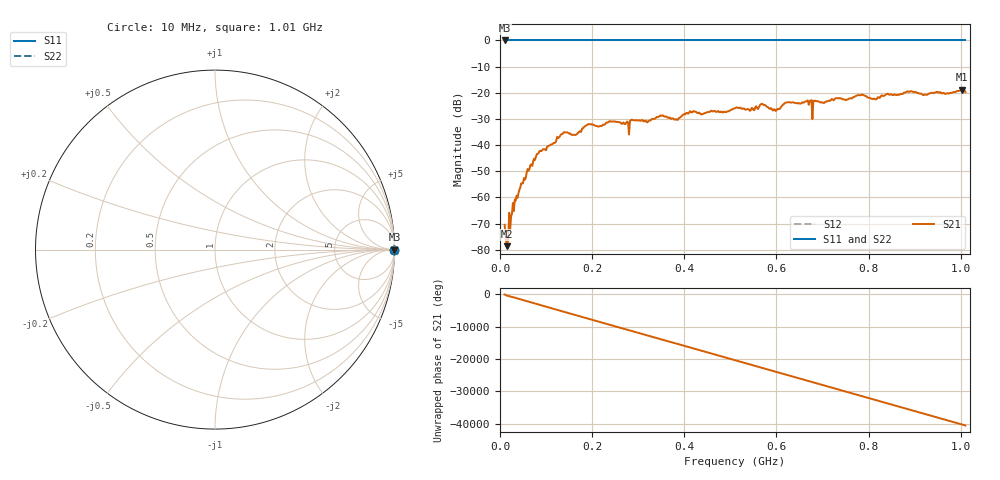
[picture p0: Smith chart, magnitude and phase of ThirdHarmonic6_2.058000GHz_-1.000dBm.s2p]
! 8/17/2025 12:40:03 AM
! C:\ANRITSUVNA\TEMP\TEMP.S2P
! CHANNEL.1
! TR.MEASUREMENT
! RAW.DATA
! RF.CORRECTION.OFF
! AVERAGING.OFF
! IF.BANDWIDTH: 5KHZ
! SWEEPTYPE:  FREQ.SWEEP(Linear)
! Reference Plane Port Info
! PORT:  PORT1  PORT2
! DISTANCE:  0  m  0  m
! TIME:  0  s  0  s
! PHASE.OFFSET:  0  deg.  0  deg.
! LOSS:  0  dB  0  dB
! REF.LOSS:  0  dB  0  dB
! REF.FREQ:  0  Hz  0  Hz
! Power Info
! POWER:  -20  dBm  -20  dBm
! EFF.POWER:  -20  dBm  -20  dBm
! SOURCE.ATTEN:  0  dB  0  dB
! TEST.ATTEN:  0  dB  0  dB
# GHZ S RI R 50.0
! FREQ.GHZ  S11RE  S11IM  S21RE  S21IM  S12RE  S12IM  S22RE  S22IM
!; PortSelection: Port_12
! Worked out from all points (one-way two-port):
!   501 points, 10 MHz to 1.01 GHz, reference 50 ohm
!   highest |S21| = -18.83 dB at 1.002 GHz (marker M1); lowest = -78.6 dB at 16 MHz (marker M2)
!   lowest |S11| = 0.0 dB at 10 MHz (marker M3)
!   |S11| at or under -10 dB: nowhere
!   |S22| runs from 0.0 to 0.0 dB; largest |S21 - S12| = 1.1
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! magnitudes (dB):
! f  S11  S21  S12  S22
! 10 MHz  0.0  -70.4  0.0  0.0
! 14 MHz  0.0  -78.1  0.0  0.0
! 16 MHz  0.0  -78.6  0.0  0.0
! 32 MHz  0.0  -60.8  0.0  0.0
! 62 MHz  0.0  -49.8  0.0  0.0
! 82 MHz  0.0  -43.3  0.0  0.0
! 136 MHz  0.0  -35.7  0.0  0.0
! 162 MHz  0.0  -36.1  0.0  0.0
! 178 MHz  0.0  -33.7  0.0  0.0
! 194 MHz  0.0  -32.0  0.0  0.0
! 276 MHz  0.0  -31.0  0.0  0.0
! 344 MHz  0.0  -29.2  0.0  0.0
! 382 MHz  0.0  -30.1  0.0  0.0
! 416 MHz  0.0  -27.5  0.0  0.0
! 510 MHz  0.0  -25.9  0.0  0.0
! 570 MHz  0.0  -24.4  0.0  0.0
! 596 MHz  0.0  -26.3  0.0  0.0
! 624 MHz  0.0  -23.7  0.0  0.0
! 678 MHz  0.0  -30.0  0.0  0.0
! 844 MHz  0.0  -20.7  0.0  0.0
! 1.002 GHz  0.0  -18.8  0.0  0.0
! 1.01 GHz  0.0  -19.8  0.0  0.0
